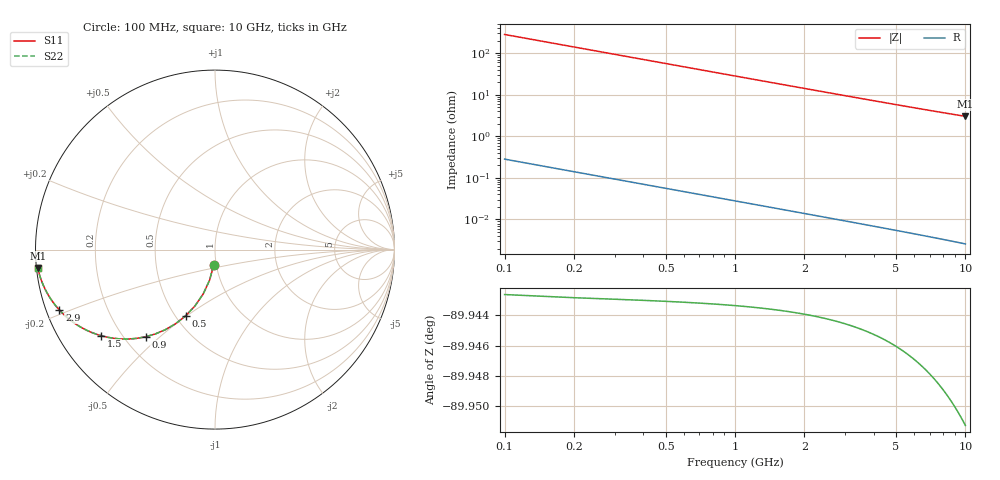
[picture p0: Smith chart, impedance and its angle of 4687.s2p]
# Hz S RI R 50.00
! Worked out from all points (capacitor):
!   100 points, 100 MHz to 10 GHz, reference 50 ohm
!   read as one part in shunt: C = 5.63 pF near 100 MHz
!   lowest |Z| = 3.03 ohm at 10 GHz (marker M1)
!   S11 on the Smith chart (normalised r, x): 100 MHz: 0.97, -0.17; 500 MHz: 0.56, -0.50; 900 MHz: 0.28, -0.45; 1.5 GHz: 0.13, -0.33; 2.9 GHz: 0.04, -0.19; 10 GHz: 0.00, -0.05
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1e8  -0.00783 -0.0877  0.9921 -0.0878  0.9921 -0.0878  -0.00783 -0.0877
2e8  -0.0305 -0.1713  0.9695 -0.1716  0.9695 -0.1716  -0.0305 -0.1713
3e8  -0.0659 -0.2474  0.934 -0.2479  0.934 -0.2479  -0.0659 -0.2474
4e8  -0.1114 -0.3138  0.8886 -0.3144  0.8886 -0.3144  -0.1114 -0.3138
5e8  -0.1636 -0.369  0.8364 -0.3698  0.8364 -0.3698  -0.1636 -0.369
6e8  -0.2196 -0.413  0.7804 -0.414  0.7804 -0.414  -0.2196 -0.413
7e8  -0.2768 -0.4463  0.7232 -0.4475  0.7232 -0.4475  -0.2768 -0.4463
9e8  -0.3872 -0.4859  0.6128 -0.4874  0.6128 -0.4874  -0.3872 -0.4859
1e9  -0.438 -0.4948  0.562 -0.4965  0.562 -0.4965  -0.438 -0.4948
1.2e9  -0.5285 -0.4977  0.4715 -0.4997  0.4715 -0.4997  -0.5285 -0.4977
1.5e9  -0.6361 -0.4794  0.3639 -0.4819  0.3639 -0.4819  -0.6361 -0.4794
1.8e9  -0.7152 -0.4493  0.2847 -0.4523  0.2847 -0.4523  -0.7152 -0.4493
2e9  -0.7559 -0.4273  0.244 -0.4307  0.244 -0.4307  -0.7559 -0.4273
2.3e9  -0.8035 -0.3949  0.1964 -0.3988  0.1964 -0.3988  -0.8035 -0.3949
2.6e9  -0.8392 -0.3646  0.1608 -0.369  0.1608 -0.369  -0.8392 -0.3646
2.9e9  -0.8664 -0.3373  0.1336 -0.3422  0.1336 -0.3422  -0.8664 -0.3373
3.4e9  -0.8989 -0.298  0.101 -0.3038  0.101 -0.3038  -0.8989 -0.298
4.2e9  -0.9313 -0.2488  0.0687 -0.2561  0.0687 -0.2561  -0.9313 -0.2488
5.1e9  -0.9523 -0.2082  0.0476 -0.217  0.0476 -0.217  -0.9523 -0.2082
6.7e9  -0.9718 -0.1589  0.0281 -0.1706  0.0281 -0.1706  -0.9718 -0.1589
8.4e9  -0.982 -0.1248  0.0179 -0.1396  0.0179 -0.1396  -0.982 -0.1248
1e10  -0.9873 -0.102  0.0125 -0.1199  0.0125 -0.1199  -0.9873 -0.102
